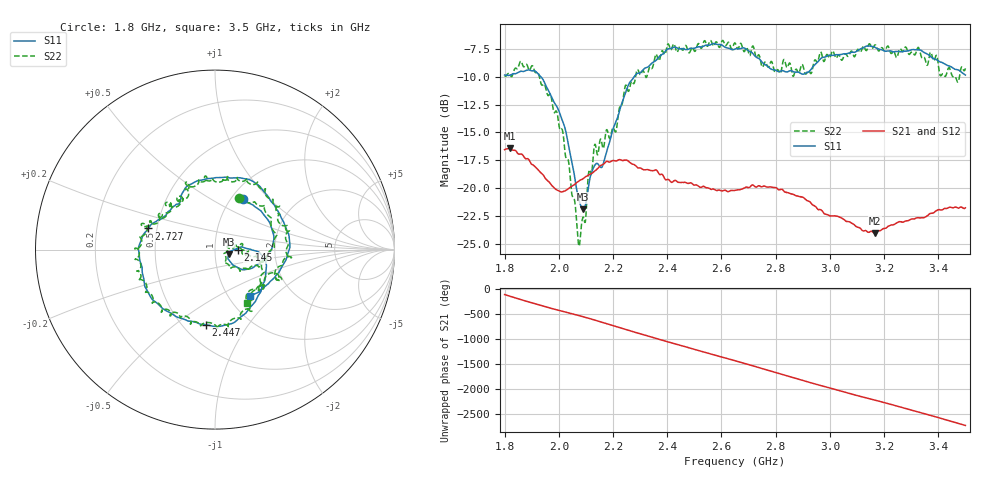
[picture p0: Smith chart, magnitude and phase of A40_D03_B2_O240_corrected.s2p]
! Created with skrf 1.9.0 (http://scikit-rf.org).
# Hz S RI R 50.0
!freq ReS11 ImS11 ReS21 ImS21 ReS12 ImS12 ReS22 ImS22
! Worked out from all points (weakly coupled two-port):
!   1601 points, 1.8 GHz to 3.5 GHz, reference 50 ohm
!   highest |S21| = -16.45 dB at 1.818 GHz (marker M1); lowest = -24.0 dB at 3.165 GHz (marker M2)
!   lowest |S11| = -21.9 dB at 2.09 GHz (marker M3), VSWR 1.17, Z = 58.2 - j2.91 ohm
!   |S11| at or under -10 dB: 1.934 GHz to 2.278 GHz (344.2 MHz wide, 16.3 % of centre)
!   |S22| runs from -25.2 to -6.7 dB; largest |S21 - S12| = 0.0026
!   S11 on the Smith chart (normalised r, x): 1.8 GHz: 1.13, +0.71; 2.145 GHz: 1.29, -0.00; 2.447 GHz: 0.64, -0.65; 2.727 GHz: 0.45, +0.12; 3.5 GHz: 1.25, -0.72
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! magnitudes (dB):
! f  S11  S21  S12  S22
! 1.8 GHz  -9.8  -16.6  -16.6  -9.9
! 1.818 GHz  -9.9  -16.5  -16.5  -9.8
! 1.903 GHz  -9.5  -17.9  -17.9  -9.0
! 1.968 GHz  -11.5  -19.6  -19.6  -11.6
! 2.015 GHz  -14.0  -20.3  -20.4  -15.0
! 2.072 GHz  -20.9  -19.4  -19.4  -25.0
! 2.084 GHz  -21.7  -19.3  -19.2  -23.3
! 2.09 GHz  -21.9  -19.2  -19.2  -22.6
! 2.112 GHz  -19.5  -18.8  -18.8  -18.4
! 2.145 GHz  -17.9  -18.2  -18.2  -16.8
! 2.209 GHz  -14.1  -17.6  -17.5  -15.0
! 2.26 GHz  -10.6  -17.7  -17.7  -11.2
! 2.367 GHz  -8.3  -18.6  -18.6  -8.5
! 2.447 GHz  -7.5  -19.5  -19.5  -7.3
! 2.65 GHz  -7.5  -20.2  -20.2  -7.0
! 2.727 GHz  -8.2  -19.9  -19.9  -8.2
! 2.934 GHz  -9.2  -21.5  -21.4  -9.5
! 3.165 GHz  -7.3  -24.0  -24.0  -7.1
! 3.217 GHz  -7.7  -23.4  -23.4  -7.4
! 3.327 GHz  -7.6  -22.7  -22.6  -7.4
! 3.468 GHz  -9.4  -21.7  -21.7  -10.3
! 3.5 GHz  -9.8  -21.8  -21.8  -9.2
